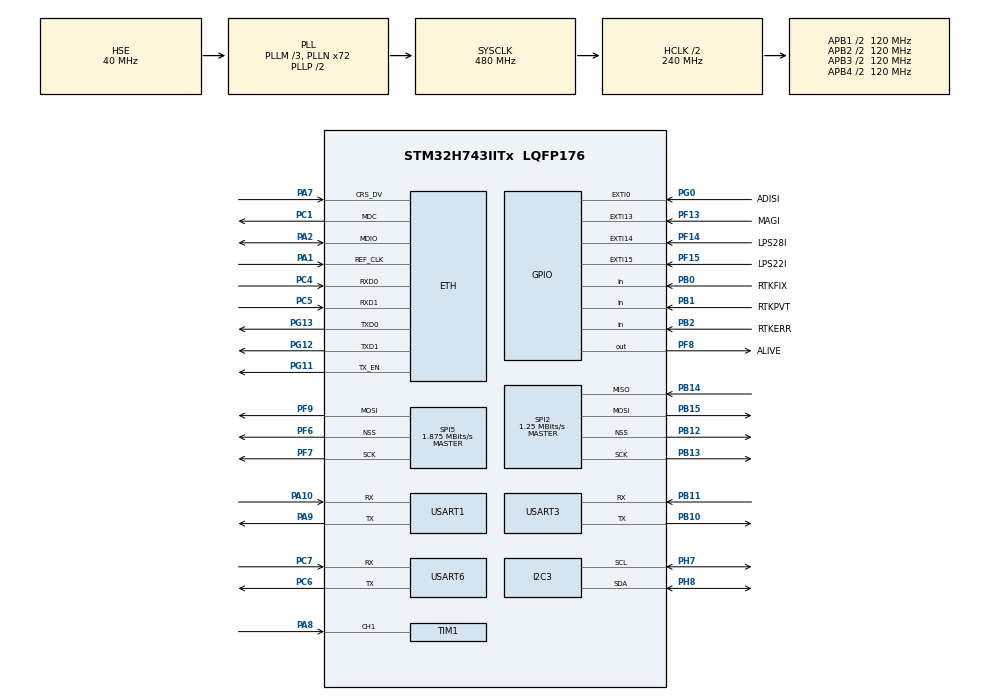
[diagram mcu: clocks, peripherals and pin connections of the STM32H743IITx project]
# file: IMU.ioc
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CORTEX_M7.AccessPermission_S-Cortex_Memory_Protection_Unit_Region1_Settings_S=MPU_REGION_FULL_ACCESS
CORTEX_M7.AccessPermission_S-Cortex_Memory_Protection_Unit_Region2_Settings_S=MPU_REGION_FULL_ACCESS
CORTEX_M7.AccessPermission_S-Cortex_Memory_Protection_Unit_Region3_Settings_S=MPU_REGION_FULL_ACCESS
CORTEX_M7.AccessPermission_S-Cortex_Memory_Protection_Unit_Region4_Settings_S=MPU_REGION_FULL_ACCESS
CORTEX_M7.BaseAddress_S-Cortex_Memory_Protection_Unit_Region1_Settings_S=0x30020000
CORTEX_M7.BaseAddress_S-Cortex_Memory_Protection_Unit_Region2_Settings_S=0x30040000
CORTEX_M7.BaseAddress_S-Cortex_Memory_Protection_Unit_Region3_Settings_S=0x30000000
CORTEX_M7.BaseAddress_S-Cortex_Memory_Protection_Unit_Region4_Settings_S=0x24000000
CORTEX_M7.CPU_DCache=Enabled
CORTEX_M7.CPU_ICache=Enabled
CORTEX_M7.DisableExec_S-Cortex_Memory_Protection_Unit_Region1_Settings_S=MPU_INSTRUCTION_ACCESS_DISABLE
CORTEX_M7.DisableExec_S-Cortex_Memory_Protection_Unit_Region2_Settings_S=MPU_INSTRUCTION_ACCESS_DISABLE
CORTEX_M7.DisableExec_S-Cortex_Memory_Protection_Unit_Region3_Settings_S=MPU_INSTRUCTION_ACCESS_DISABLE
CORTEX_M7.DisableExec_S-Cortex_Memory_Protection_Unit_Region4_Settings_S=MPU_INSTRUCTION_ACCESS_DISABLE
CORTEX_M7.Enable_S-Cortex_Memory_Protection_Unit_Region1_Settings_S=MPU_REGION_ENABLE
CORTEX_M7.Enable_S-Cortex_Memory_Protection_Unit_Region2_Settings_S=MPU_REGION_ENABLE
CORTEX_M7.Enable_S-Cortex_Memory_Protection_Unit_Region3_Settings_S=MPU_REGION_ENABLE
CORTEX_M7.Enable_S-Cortex_Memory_Protection_Unit_Region4_Settings_S=MPU_REGION_ENABLE
CORTEX_M7.IsBufferable_S-Cortex_Memory_Protection_Unit_Region1_Settings_S=MPU_ACCESS_NOT_BUFFERABLE
CORTEX_M7.IsBufferable_S-Cortex_Memory_Protection_Unit_Region2_Settings_S=MPU_ACCESS_BUFFERABLE
CORTEX_M7.IsBufferable_S-Cortex_Memory_Protection_Unit_Region4_Settings_S=MPU_ACCESS_BUFFERABLE
CORTEX_M7.IsBufferable_Spec=MPU_ACCESS_NOT_BUFFERABLE
CORTEX_M7.IsCacheable_S-Cortex_Memory_Protection_Unit_Region1_Settings_S=MPU_ACCESS_NOT_CACHEABLE
CORTEX_M7.IsCacheable_S-Cortex_Memory_Protection_Unit_Region2_Settings_S=MPU_ACCESS_NOT_CACHEABLE
CORTEX_M7.IsCacheable_S-Cortex_Memory_Protection_Unit_Region3_Settings_S=MPU_ACCESS_CACHEABLE
CORTEX_M7.IsCacheable_S-Cortex_Memory_Protection_Unit_Region4_Settings_S=MPU_ACCESS_CACHEABLE
CORTEX_M7.IsCacheable_Spec=MPU_ACCESS_NOT_CACHEABLE
CORTEX_M7.IsShareable_S-Cortex_Memory_Protection_Unit_Region1_Settings_S=MPU_ACCESS_NOT_SHAREABLE
CORTEX_M7.IsShareable_S-Cortex_Memory_Protection_Unit_Region2_Settings_S=MPU_ACCESS_SHAREABLE
CORTEX_M7.IsShareable_S-Cortex_Memory_Protection_Unit_Region3_Settings_S=MPU_ACCESS_SHAREABLE
CORTEX_M7.IsShareable_Spec=MPU_ACCESS_SHAREABLE
CORTEX_M7.Size_S-Cortex_Memory_Protection_Unit_Region1_Settings_S=MPU_REGION_SIZE_128KB
CORTEX_M7.Size_S-Cortex_Memory_Protection_Unit_Region2_Settings_S=MPU_REGION_SIZE_512B
CORTEX_M7.Size_S-Cortex_Memory_Protection_Unit_Region3_Settings_S=MPU_REGION_SIZE_64KB
CORTEX_M7.Size_S-Cortex_Memory_Protection_Unit_Region4_Settings_S=MPU_REGION_SIZE_64KB
CORTEX_M7.SubRegionDisable_S-Cortex_Memory_Protection_Unit_Region1_Settings_S=0x0
CORTEX_M7.SubRegionDisable_S-Cortex_Memory_Protection_Unit_Region3_Settings_S=0x0
CORTEX_M7.TypeExtField_S-Cortex_Memory_Protection_Unit_Region1_Settings_S=MPU_TEX_LEVEL1
CORTEX_M7.default_mode_Activation=1
Dma.I2C3_RX.1.Direction=DMA_PERIPH_TO_MEMORY
Dma.I2C3_RX.1.EventEnable=DISABLE
Dma.I2C3_RX.1.FIFOMode=DMA_FIFOMODE_DISABLE
Dma.I2C3_RX.1.Instance=DMA1_Stream4
Dma.I2C3_RX.1.MemDataAlignment=DMA_MDATAALIGN_BYTE
Dma.I2C3_RX.1.MemInc=DMA_MINC_ENABLE
Dma.I2C3_RX.1.Mode=DMA_NORMAL
Dma.I2C3_RX.1.PeriphDataAlignment=DMA_PDATAALIGN_BYTE
Dma.I2C3_RX.1.PeriphInc=DMA_PINC_DISABLE
Dma.I2C3_RX.1.Polarity=HAL_DMAMUX_REQ_GEN_RISING
Dma.I2C3_RX.1.Priority=DMA_PRIORITY_LOW
Dma.I2C3_RX.1.RequestNumber=1
Dma.I2C3_RX.1.SignalID=NONE
Dma.I2C3_RX.1.SyncEnable=DISABLE
Dma.I2C3_RX.1.SyncPolarity=HAL_DMAMUX_SYNC_NO_EVENT
Dma.I2C3_RX.1.SyncRequestNumber=1
Dma.I2C3_RX.1.SyncSignalID=NONE
Dma.I2C3_TX.2.Direction=DMA_MEMORY_TO_PERIPH
Dma.I2C3_TX.2.EventEnable=DISABLE
Dma.I2C3_TX.2.FIFOMode=DMA_FIFOMODE_DISABLE
Dma.I2C3_TX.2.Instance=DMA1_Stream7
Dma.I2C3_TX.2.MemDataAlignment=DMA_MDATAALIGN_BYTE
Dma.I2C3_TX.2.MemInc=DMA_MINC_ENABLE
Dma.I2C3_TX.2.Mode=DMA_NORMAL
Dma.I2C3_TX.2.PeriphDataAlignment=DMA_PDATAALIGN_BYTE
Dma.I2C3_TX.2.PeriphInc=DMA_PINC_DISABLE
Dma.I2C3_TX.2.Polarity=HAL_DMAMUX_REQ_GEN_RISING
Dma.I2C3_TX.2.Priority=DMA_PRIORITY_LOW
Dma.I2C3_TX.2.RequestNumber=1
Dma.I2C3_TX.2.SignalID=NONE
Dma.I2C3_TX.2.SyncEnable=DISABLE
Dma.I2C3_TX.2.SyncPolarity=HAL_DMAMUX_SYNC_NO_EVENT
Dma.I2C3_TX.2.SyncRequestNumber=1
Dma.I2C3_TX.2.SyncSignalID=NONE
Dma.Request0=USART3_RX
Dma.Request1=I2C3_RX
Dma.Request2=I2C3_TX
Dma.Request3=SPI2_RX
Dma.Request4=SPI2_TX
Dma.Request5=USART3_TX
Dma.Request6=USART6_RX
Dma.Request7=USART6_TX
Dma.Request8=SPI5_TX
Dma.SPI2_RX.3.Direction=DMA_PERIPH_TO_MEMORY
Dma.SPI2_RX.3.EventEnable=DISABLE
Dma.SPI2_RX.3.FIFOMode=DMA_FIFOMODE_DISABLE
Dma.SPI2_RX.3.Instance=DMA1_Stream0
Dma.SPI2_RX.3.MemDataAlignment=DMA_MDATAALIGN_HALFWORD
Dma.SPI2_RX.3.MemInc=DMA_MINC_ENABLE
Dma.SPI2_RX.3.Mode=DMA_NORMAL
Dma.SPI2_RX.3.PeriphDataAlignment=DMA_PDATAALIGN_HALFWORD
Dma.SPI2_RX.3.PeriphInc=DMA_PINC_DISABLE
Dma.SPI2_RX.3.Polarity=HAL_DMAMUX_REQ_GEN_RISING
Dma.SPI2_RX.3.Priority=DMA_PRIORITY_LOW
Dma.SPI2_RX.3.RequestNumber=1
Dma.SPI2_RX.3.SignalID=NONE
Dma.SPI2_RX.3.SyncEnable=DISABLE
Dma.SPI2_RX.3.SyncPolarity=HAL_DMAMUX_SYNC_NO_EVENT
Dma.SPI2_RX.3.SyncRequestNumber=1
Dma.SPI2_RX.3.SyncSignalID=NONE
Dma.SPI2_TX.4.Direction=DMA_MEMORY_TO_PERIPH
Dma.SPI2_TX.4.EventEnable=DISABLE
Dma.SPI2_TX.4.FIFOMode=DMA_FIFOMODE_DISABLE
Dma.SPI2_TX.4.Instance=DMA1_Stream1
Dma.SPI2_TX.4.MemDataAlignment=DMA_MDATAALIGN_HALFWORD
Dma.SPI2_TX.4.MemInc=DMA_MINC_ENABLE
Dma.SPI2_TX.4.Mode=DMA_NORMAL
Dma.SPI2_TX.4.PeriphDataAlignment=DMA_PDATAALIGN_HALFWORD
Dma.SPI2_TX.4.PeriphInc=DMA_PINC_DISABLE
Dma.SPI2_TX.4.Polarity=HAL_DMAMUX_REQ_GEN_RISING
Dma.SPI2_TX.4.Priority=DMA_PRIORITY_LOW
Dma.SPI2_TX.4.RequestNumber=1
Dma.SPI2_TX.4.SignalID=NONE
Dma.SPI2_TX.4.SyncEnable=DISABLE
Dma.SPI2_TX.4.SyncPolarity=HAL_DMAMUX_SYNC_NO_EVENT
Dma.SPI2_TX.4.SyncRequestNumber=1
Dma.SPI2_TX.4.SyncSignalID=NONE
Dma.SPI5_TX.8.Direction=DMA_MEMORY_TO_PERIPH
Dma.SPI5_TX.8.EventEnable=DISABLE
Dma.SPI5_TX.8.FIFOMode=DMA_FIFOMODE_DISABLE
Dma.SPI5_TX.8.Instance=DMA1_Stream5
Dma.SPI5_TX.8.MemDataAlignment=DMA_MDATAALIGN_HALFWORD
Dma.SPI5_TX.8.MemInc=DMA_MINC_ENABLE
Dma.SPI5_TX.8.Mode=DMA_NORMAL
Dma.SPI5_TX.8.PeriphDataAlignment=DMA_PDATAALIGN_HALFWORD
Dma.SPI5_TX.8.PeriphInc=DMA_PINC_DISABLE
Dma.SPI5_TX.8.Polarity=HAL_DMAMUX_REQ_GEN_RISING
Dma.SPI5_TX.8.Priority=DMA_PRIORITY_LOW
Dma.SPI5_TX.8.RequestNumber=1
Dma.SPI5_TX.8.SignalID=NONE
Dma.SPI5_TX.8.SyncEnable=DISABLE
Dma.SPI5_TX.8.SyncPolarity=HAL_DMAMUX_SYNC_NO_EVENT
Dma.SPI5_TX.8.SyncRequestNumber=1
Dma.SPI5_TX.8.SyncSignalID=NONE
Dma.USART3_RX.0.Direction=DMA_PERIPH_TO_MEMORY
Dma.USART3_RX.0.EventEnable=DISABLE
Dma.USART3_RX.0.FIFOMode=DMA_FIFOMODE_DISABLE
Dma.USART3_RX.0.Instance=DMA1_Stream6
Dma.USART3_RX.0.MemDataAlignment=DMA_MDATAALIGN_BYTE
Dma.USART3_RX.0.MemInc=DMA_MINC_ENABLE
Dma.USART3_RX.0.Mode=DMA_NORMAL
Dma.USART3_RX.0.PeriphDataAlignment=DMA_PDATAALIGN_BYTE
Dma.USART3_RX.0.PeriphInc=DMA_PINC_DISABLE
Dma.USART3_RX.0.Polarity=HAL_DMAMUX_REQ_GEN_RISING
Dma.USART3_RX.0.Priority=DMA_PRIORITY_LOW
Dma.USART3_RX.0.RequestNumber=1
Dma.USART3_RX.0.SignalID=NONE
Dma.USART3_RX.0.SyncEnable=DISABLE
Dma.USART3_RX.0.SyncPolarity=HAL_DMAMUX_SYNC_NO_EVENT
Dma.USART3_RX.0.SyncRequestNumber=1
Dma.USART3_RX.0.SyncSignalID=NONE
Dma.USART3_TX.5.Direction=DMA_MEMORY_TO_PERIPH
Dma.USART3_TX.5.EventEnable=DISABLE
Dma.USART3_TX.5.FIFOMode=DMA_FIFOMODE_DISABLE
Dma.USART3_TX.5.Instance=DMA2_Stream0
Dma.USART3_TX.5.MemDataAlignment=DMA_MDATAALIGN_BYTE
Dma.USART3_TX.5.MemInc=DMA_MINC_ENABLE
Dma.USART3_TX.5.Mode=DMA_NORMAL
Dma.USART3_TX.5.PeriphDataAlignment=DMA_PDATAALIGN_BYTE
Dma.USART3_TX.5.PeriphInc=DMA_PINC_DISABLE
Dma.USART3_TX.5.Polarity=HAL_DMAMUX_REQ_GEN_RISING
Dma.USART3_TX.5.Priority=DMA_PRIORITY_LOW
Dma.USART3_TX.5.RequestNumber=1
Dma.USART3_TX.5.SignalID=NONE
Dma.USART3_TX.5.SyncEnable=DISABLE
Dma.USART3_TX.5.SyncPolarity=HAL_DMAMUX_SYNC_NO_EVENT
Dma.USART3_TX.5.SyncRequestNumber=1
Dma.USART3_TX.5.SyncSignalID=NONE
Dma.USART6_RX.6.Direction=DMA_PERIPH_TO_MEMORY
Dma.USART6_RX.6.EventEnable=DISABLE
Dma.USART6_RX.6.FIFOMode=DMA_FIFOMODE_DISABLE
Dma.USART6_RX.6.Instance=DMA2_Stream2
Dma.USART6_RX.6.MemDataAlignment=DMA_MDATAALIGN_BYTE
Dma.USART6_RX.6.MemInc=DMA_MINC_ENABLE
Dma.USART6_RX.6.Mode=DMA_NORMAL
Dma.USART6_RX.6.PeriphDataAlignment=DMA_PDATAALIGN_BYTE
Dma.USART6_RX.6.PeriphInc=DMA_PINC_DISABLE
Dma.USART6_RX.6.Polarity=HAL_DMAMUX_REQ_GEN_RISING
Dma.USART6_RX.6.Priority=DMA_PRIORITY_LOW
Dma.USART6_RX.6.RequestNumber=1
Dma.USART6_RX.6.SignalID=NONE
Dma.USART6_RX.6.SyncEnable=DISABLE
Dma.USART6_RX.6.SyncPolarity=HAL_DMAMUX_SYNC_NO_EVENT
Dma.USART6_RX.6.SyncRequestNumber=1
Dma.USART6_RX.6.SyncSignalID=NONE
Dma.USART6_TX.7.Direction=DMA_MEMORY_TO_PERIPH
Dma.USART6_TX.7.EventEnable=DISABLE
Dma.USART6_TX.7.FIFOMode=DMA_FIFOMODE_DISABLE
Dma.USART6_TX.7.Instance=DMA2_Stream3
Dma.USART6_TX.7.MemDataAlignment=DMA_MDATAALIGN_BYTE
Dma.USART6_TX.7.MemInc=DMA_MINC_ENABLE
Dma.USART6_TX.7.Mode=DMA_NORMAL
Dma.USART6_TX.7.PeriphDataAlignment=DMA_PDATAALIGN_BYTE
Dma.USART6_TX.7.PeriphInc=DMA_PINC_DISABLE
Dma.USART6_TX.7.Polarity=HAL_DMAMUX_REQ_GEN_RISING
Dma.USART6_TX.7.Priority=DMA_PRIORITY_LOW
Dma.USART6_TX.7.RequestNumber=1
Dma.USART6_TX.7.SignalID=NONE
Dma.USART6_TX.7.SyncEnable=DISABLE
Dma.USART6_TX.7.SyncPolarity=HAL_DMAMUX_SYNC_NO_EVENT
Dma.USART6_TX.7.SyncRequestNumber=1
Dma.USART6_TX.7.SyncSignalID=NONE
ETH.MediaInterface=HAL_ETH_RMII_MODE
ETH.RxBufferAddress=0x30040200
ETH.RxDescAddress=0x30040000
ETH.TxDescAddress=0x30040100
I2C3.Timing=0x307075B1
IWDG1.Prescaler=IWDG_PRESCALER_32
LPTIM1.ClockPrescaler=LPTIM_PRESCALER_DIV128
LPTIM1.UpdateMode=LPTIM_UPDATE_ENDOFPERIOD
LWIP.BSP.number=1
LWIP.IP_ADDRESS=010.000.000.011
LWIP.LWIP_DHCP=0
LWIP.LWIP_NETIF_EXT_STATUS_CALLBACK=1
LWIP.LWIP_NETIF_STATUS_CALLBACK=1
LWIP.LWIP_RAM_HEAP_POINTER=0x30020000
LWIP.LWIP_UDP=0
LWIP.MEMP_NUM_PBUF=16
LWIP.MEMP_NUM_RAW_PCB=8
LWIP.MEMP_NUM_TCP_PCB=8
LWIP.MEMP_NUM_TCP_SEG=1024
LWIP.MEM_SIZE=40960
LWIP.NETMASK_ADDRESS=255.255.255.000
LWIP.PBUF_POOL_BUFSIZE=256
LWIP.PBUF_POOL_SIZE=64
LWIP.TCP_MSS=128
LWIP.TCP_QUEUE_OOSEQ=0
LWIP.TCP_SND_BUF=8192
LWIP.TCP_SND_QUEUELEN=1024
LWIP.TCP_WND=5840
LWIP.Version=v2.1.2_Cube
LWIP0.BSP.STBoard=false
LWIP0.BSP.api=BSP_COMPONENT_DRIVER
LWIP0.BSP.component=LAN8742
LWIP0.BSP.instance=LAN8742
LWIP0.BSP.name=Driver_PHY
LWIP0.BSP.semaphore=S_LAN8742
LWIP0.BSP.solution=LAN8742
Mcu.Family=STM32H7
Mcu.Name=STM32H743IITx
Mcu.Package=LQFP176
NVIC.DMA1_Stream0_IRQn=true\:1\:0\:true\:false\:true\:false\:true\:true
NVIC.DMA1_Stream1_IRQn=true\:1\:0\:true\:false\:true\:false\:true\:true
NVIC.DMA1_Stream4_IRQn=true\:1\:0\:true\:false\:true\:false\:true\:true
NVIC.DMA1_Stream5_IRQn=true\:1\:0\:true\:false\:true\:false\:true\:true
NVIC.DMA1_Stream6_IRQn=true\:1\:0\:true\:false\:true\:false\:true\:true
NVIC.DMA1_Stream7_IRQn=true\:1\:0\:true\:false\:true\:false\:true\:true
NVIC.DMA2_Stream0_IRQn=true\:1\:0\:true\:false\:true\:false\:true\:true
NVIC.DMA2_Stream2_IRQn=true\:1\:0\:true\:false\:true\:false\:true\:true
NVIC.DMA2_Stream3_IRQn=true\:1\:0\:true\:false\:true\:false\:true\:true
NVIC.EXTI0_IRQn=true\:1\:0\:true\:false\:true\:true\:true\:true
NVIC.EXTI15_10_IRQn=true\:1\:0\:true\:false\:true\:true\:true\:true
NVIC.I2C3_ER_IRQn=true\:0\:0\:true\:false\:true\:true\:true\:true
NVIC.I2C3_EV_IRQn=true\:1\:0\:true\:false\:true\:true\:true\:true
NVIC.LPTIM1_IRQn=true\:1\:0\:true\:false\:true\:true\:true\:true
NVIC.PriorityGroup=NVIC_PRIORITYGROUP_3
NVIC.SPI2_IRQn=true\:1\:0\:true\:false\:true\:false\:true\:true
NVIC.SPI5_IRQn=true\:1\:0\:true\:false\:true\:true\:true\:true
NVIC.TIM1_BRK_IRQn=true\:2\:0\:true\:false\:true\:true\:true\:true
NVIC.TIM1_CC_IRQn=true\:1\:0\:true\:false\:true\:true\:true\:true
NVIC.TIM1_TRG_COM_IRQn=true\:2\:0\:true\:false\:true\:true\:true\:true
NVIC.TIM1_UP_IRQn=true\:2\:0\:true\:false\:true\:true\:true\:true
NVIC.TIM2_IRQn=true\:0\:0\:true\:false\:true\:true\:true\:true
NVIC.USART1_IRQn=true\:1\:0\:true\:false\:true\:true\:true\:true
NVIC.USART3_IRQn=true\:1\:0\:true\:false\:true\:true\:true\:true
NVIC.USART6_IRQn=true\:1\:0\:true\:false\:true\:true\:true\:true
PA1.GPIO_Speed=GPIO_SPEED_FREQ_VERY_HIGH
PA1.Mode=RMII
PA1.Signal=ETH_REF_CLK
PA10.Mode=Asynchronous
PA10.Signal=USART1_RX
PA13\ (JTMS/SWDIO).Mode=Serial_Wire
PA13\ (JTMS/SWDIO).Signal=DEBUG_JTMS-SWDIO
PA14\ (JTCK/SWCLK).Mode=Serial_Wire
PA14\ (JTCK/SWCLK).Signal=DEBUG_JTCK-SWCLK
PA2.GPIO_PuPd=GPIO_NOPULL
PA2.GPIO_Speed=GPIO_SPEED_FREQ_VERY_HIGH
PA2.Mode=RMII
PA2.Signal=ETH_MDIO
PA7.GPIO_Speed=GPIO_SPEED_FREQ_VERY_HIGH
PA7.Mode=RMII
PA7.Signal=ETH_CRS_DV
PA8.Signal=S_TIM1_CH1
PA9.Mode=Asynchronous
PA9.Signal=USART1_TX
PB0.GPIO_Label=RTKFIX
PB0.Signal=GPIO_Input
PB1.GPIO_Label=RTKPVT
PB1.Signal=GPIO_Input
PB10.Mode=Asynchronous
PB10.Signal=USART3_TX
PB11.Mode=Asynchronous
PB11.Signal=USART3_RX
PB12.Mode=NSS_Signal_Hard_Output
PB12.Signal=SPI2_NSS
PB13.Mode=Full_Duplex_Master
PB13.Signal=SPI2_SCK
PB14.Mode=Full_Duplex_Master
PB14.Signal=SPI2_MISO
PB15.Mode=Full_Duplex_Master
PB15.Signal=SPI2_MOSI
PB2.GPIO_Label=RTKERR
PB2.Signal=GPIO_Input
PC1.GPIO_Speed=GPIO_SPEED_FREQ_VERY_HIGH
PC1.Mode=RMII
PC1.Signal=ETH_MDC
PC4.GPIO_Speed=GPIO_SPEED_FREQ_VERY_HIGH
PC4.Mode=RMII
PC4.Signal=ETH_RXD0
PC5.GPIO_Speed=GPIO_SPEED_FREQ_VERY_HIGH
PC5.Mode=RMII
PC5.Signal=ETH_RXD1
PC6.Mode=Asynchronous
PC6.Signal=USART6_TX
PC7.Mode=Asynchronous
PC7.Signal=USART6_RX
PF13.GPIO_Label=MAGI
PF13.Signal=GPXTI13
PF14.GPIO_Label=LPS28I
PF14.Signal=GPXTI14
PF15.GPIO_Label=LPS22I
PF15.Signal=GPXTI15
PF6.Mode=NSS_Signal_Hard_Output
PF6.Signal=SPI5_NSS
PF7.Mode=TX_Only_Simplex_Unidirect_Master
PF7.Signal=SPI5_SCK
PF8.GPIO_Label=ALIVE
PF8.Signal=GPIO_Output
PF9.Mode=TX_Only_Simplex_Unidirect_Master
PF9.Signal=SPI5_MOSI
PG0.GPIO_Label=ADISI
PG0.Signal=GPXTI0
PG11.GPIO_PuPd=GPIO_NOPULL
PG11.GPIO_Speed=GPIO_SPEED_FREQ_VERY_HIGH
PG11.Mode=RMII
PG11.Signal=ETH_TX_EN
PG12.GPIO_PuPd=GPIO_NOPULL
PG12.GPIO_Speed=GPIO_SPEED_FREQ_VERY_HIGH
PG12.Mode=RMII
PG12.Signal=ETH_TXD1
PG13.GPIO_Speed=GPIO_SPEED_FREQ_VERY_HIGH
PG13.Mode=RMII
PG13.Signal=ETH_TXD0
PH0-OSC_IN\ (PH0).Mode=HSE-External-Clock-Source
PH0-OSC_IN\ (PH0).Signal=RCC_OSC_IN
PH7.Mode=I2C
PH7.Signal=I2C3_SCL
PH8.Mode=I2C
PH8.Signal=I2C3_SDA
ProjectManager.HeapSize=0x200
ProjectManager.StackSize=0x400
ProjectManager.TargetToolchain=STM32CubeIDE
RCC.ADCFreq_Value=2500000
RCC.APB1Freq_Value=120000000
RCC.APB2Freq_Value=120000000
RCC.APB3Freq_Value=120000000
RCC.APB4Freq_Value=120000000
RCC.CortexFreq_Value=480000000
RCC.D1PPRE=RCC_APB3_DIV2
RCC.D2PPRE1=RCC_APB1_DIV2
RCC.D2PPRE2=RCC_APB2_DIV2
RCC.D3PPRE=RCC_APB4_DIV2
RCC.DIVM1=3
RCC.DIVM2=3
RCC.DIVN1=72
RCC.DIVN2=15
RCC.DIVP2=80
RCC.DIVQ1=60
RCC.EnbaleCSS=true
RCC.HCLKFreq_Value=240000000
RCC.HPRE=RCC_HCLK_DIV2
RCC.HSE_VALUE=40000000
RCC.PLL2FRACN=0
RCC.PLL3FRACN=0
RCC.PLLFRACN=0
RCC.PLLSourceVirtual=RCC_PLLSOURCE_HSE
RCC.SPI123CLockSelection=RCC_SPI123CLKSOURCE_PLL2
RCC.SYSCLKFreq_VALUE=480000000
RCC.SYSCLKSource=RCC_SYSCLKSOURCE_PLLCLK
RCC.USBFreq_Value=16000000
RTC.AsynchPrediv=8-1
RTC.SynchPrediv=4096-1
RTC.WakeUpCounter-WakeUp=64-1
SH.S_TIM1_CH1.0=TIM1_CH1,Input_Capture1_from_TI1
SPI2.CLKPhase=SPI_PHASE_2EDGE
SPI2.CLKPolarity=SPI_POLARITY_HIGH
SPI2.CalculateBaudRate=1.25 MBits/s
SPI2.DataSize=SPI_DATASIZE_16BIT
SPI2.Direction=SPI_DIRECTION_2LINES
SPI2.MasterInterDataIdleness=SPI_MASTER_INTERDATA_IDLENESS_15CYCLE
SPI2.Mode=SPI_MODE_MASTER
SPI2.VirtualNSS=VM_NSSHARD
SPI2.VirtualType=VM_MASTER
SPI5.BaudRatePrescaler=SPI_BAUDRATEPRESCALER_64
SPI5.CalculateBaudRate=1.875 MBits/s
SPI5.DataSize=SPI_DATASIZE_16BIT
SPI5.Direction=SPI_DIRECTION_2LINES_TXONLY
SPI5.Mode=SPI_MODE_MASTER
SPI5.VirtualNSS=VM_NSSHARD
SPI5.VirtualType=VM_MASTER
TIM1.Channel-Input_Capture1_from_TI1=TIM_CHANNEL_1
TIM1.Period=10-1
TIM1.Prescaler=24-1
TIM2.Period=1000000-1
TIM2.Prescaler=240-1
USART1.VirtualMode-Asynchronous=VM_ASYNC
USART3.VirtualMode-Asynchronous=VM_ASYNC
USART6.VirtualMode-Asynchronous=VM_ASYNC
VP_IWDG1_VS_IWDG.Mode=IWDG_Activate
VP_LPTIM1_VS_LPTIM_counterModeInternalClock.Mode=Counts__internal_clock_event_00
VP_LWIP_VS_Enabled.Mode=Enabled
VP_MEMORYMAP_VS_MEMORYMAP.Mode=CurAppReg
VP_RTC_VS_RTC_Activate.Mode=RTC_Enabled
VP_RTC_VS_RTC_Calendar.Mode=RTC_Calendar
VP_RTC_VS_RTC_WakeUp_intern.Mode=WakeUp
VP_TIM1_VS_ClockSourceINT.Mode=Internal
VP_TIM2_VS_ClockSourceINT.Mode=Internal
board=custom

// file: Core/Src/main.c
/* USER CODE BEGIN Header */
/**
  ******************************************************************************
  * @file           : main.c
  * @brief          : Main program body
  ******************************************************************************
  * @attention
  *
  * Copyright (c) 2024 STMicroelectronics.
  * All rights reserved.
  *
  * This software is licensed under terms that can be found in the LICENSE file
  * in the root directory of this software component.
  * If no LICENSE file comes with this software, it is provided AS-IS.
  *
  ******************************************************************************
  */
/* USER CODE END Header */
#include "main.h"
#include "dma.h"
#include "i2c.h"
#include "iwdg.h"
#include "lptim.h"
#include "lwip.h"
#include "memorymap.h"
#include "rtc.h"
#include "spi.h"
#include "tim.h"
#include "usart.h"
#include "gpio.h"

/* USER CODE BEGIN Includes */
#include "mem_helper.h"
#include "rtk.h"
#include "adis.h"
#include "mag.h"
#include "lps28.h"
#include "lps22.h"
#include "imu_msg.h"
#include "rtcm_msg.h"
#include "tcp_server.h"
#include "i2c_queue.h"
//#include "usbd_cdc_if.h"
/* USER CODE END Includes */

/* USER CODE BEGIN PV */
uint8_t i2c_status = I2C_READY;
volatile uint8_t rtcm_uart_status = RTCM_READY;
uint32_t sys_init_flag = 0;
uint32_t adis_base_tick;
uint32_t mag_base_tick;
uint32_t lps28_base_tick;
uint32_t lps22_base_tick;
uint32_t filtered_ticks_interval[MNT_ENUM_NUM] = {0};
uint64_t last_ticks[MNT_ENUM_NUM] = {0};
uint32_t sys_error = 0;
ETH_ADDR_CONFIG eth_addr_config;
RTKConfig rtk_config;
IMUFreqConfig imu_freq_config;
uint8_t flash_data_available = 0;
volatile uint32_t sys_second = 0;
OnChipTime global_i2c_timestamp_next;
OnChipTime global_adis_timestamp_next;

char dbg_msg_buff[256];
uint32_t dbg_msg_len;
/* USER CODE END PV */

void SystemClock_Config(void);
static void MPU_Config(void);

int main(void)
{

  /* USER CODE BEGIN 1 */
  load_memory();
  /* USER CODE END 1 */

  /* MPU Configuration--------------------------------------------------------*/
  MPU_Config();

  /* Enable the CPU Cache */

  /* Enable I-Cache---------------------------------------------------------*/
  SCB_EnableICache();

  /* Enable D-Cache---------------------------------------------------------*/
  SCB_EnableDCache();

  /* MCU Configuration--------------------------------------------------------*/

  /* Reset of all peripherals, Initializes the Flash interface and the Systick. */
  HAL_Init();

  /* Configure the system clock */
  SystemClock_Config();

  /* USER CODE BEGIN SysInit */
  find_flash_config();

  if (flash_data_available) {
    load_config_from_flash();
    load_eth_addr_from_flash();
  } else {
    rtk_config = (RTKConfig) {.rtk_type = RTK_MOB, .MOBConfig.heading_length=43, .MOBConfig.pps_type=1, .MOBConfig.heading_error=4, .MOBConfig.nmea_bitmap=0xFF, .MOBConfig.nmea_freq=10};
    imu_freq_config = (IMUFreqConfig) {.adis_sync_mode = 0, .mag_freq = 80, .lps28_freq = 10, .lps22_freq = 10};
    const uint8_t default_ip_addr[] = {192, 168, 11, 11};
    const uint8_t default_ip_mask[] = {255, 255, 255, 0};
    const uint8_t default_ip_gate[] = {192, 168, 11, 1};
    // OUI of STMicroelectronics: 00:80:E1; Default code for IMU board: 0A
    const uint8_t mac_prefix[] = {0x00, 0x80, 0xE1, 0x0A};

    memcpy(&eth_addr_config.ip_addr, default_ip_addr, 4);
    memcpy(&eth_addr_config.ip_mask, default_ip_mask, 4);
    memcpy(&eth_addr_config.ip_gate, default_ip_gate, 4);
    memcpy(&eth_addr_config.mac_prefix, mac_prefix, 4);
  }

  adis_base_tick = TICKS_PER_SEC / 2000;
  mag_base_tick = TICKS_PER_SEC / imu_freq_config.mag_freq;
  lps28_base_tick = TICKS_PER_SEC / imu_freq_config.lps28_freq;
  lps22_base_tick = TICKS_PER_SEC / imu_freq_config.lps22_freq;
  filtered_ticks_interval[T1C1] = TICKS_PER_SEC;
  filtered_ticks_interval[ADIS] = adis_base_tick;
  filtered_ticks_interval[MAG] = mag_base_tick;
  filtered_ticks_interval[LPS28] = lps28_base_tick;
  filtered_ticks_interval[LPS22] = lps22_base_tick;

  __HAL_RCC_D2SRAM1_CLK_ENABLE();
  __HAL_RCC_D2SRAM2_CLK_ENABLE();
  __HAL_RCC_D2SRAM3_CLK_ENABLE();
  __attribute__((aligned(32))) char msg_buffer[256];
  const uint32_t APB1_CLKFreq = HAL_RCC_GetPCLK1Freq();
  uint32_t tcp_msg_type;
  /* USER CODE END SysInit */

  /* Initialize all configured peripherals */
  MX_GPIO_Init();
  MX_DMA_Init();
  MX_LWIP_Init();
  MX_TIM1_Init();
  MX_USART1_UART_Init();
  MX_USART3_UART_Init();
  MX_SPI5_Init();
  MX_I2C3_Init();
  MX_SPI2_Init();
  MX_USART6_UART_Init();
  MX_LPTIM1_Init();
  MX_RTC_Init();
  MX_TIM2_Init();
  /* USER CODE BEGIN 2 */
  check_error();
  dbg_msg_len = sprintf(dbg_msg_buff, "[MAIN] Last sys errno 0x%lX\r\n", sys_error);
  dbg_msg_transmit(dbg_msg_buff, dbg_msg_len);

  ADIS_Init();
  MAG_Init();
  LPS28_Init();
  LPS22_Init();
  RTK_Init();
  TCP_Server_Init();
  /* USER CODE END 2 */

  /* Infinite loop */
  /* USER CODE BEGIN WHILE */
  __HAL_UART_CLEAR_OREFLAG(RTK_NMEA_HDL);
  __HAL_UART_CLEAR_OREFLAG(RTK_RTCM_HDL);
#ifdef ENABLE_WDG
  MX_IWDG1_Init();
#endif
  dbg_msg_len = sprintf(dbg_msg_buff, "[MAIN] Device Init OK, ip: %08lX\r\n", eth_addr_config.ip_addr);
  dbg_msg_transmit(dbg_msg_buff, dbg_msg_len);

  HAL_TIM_Base_Start_IT(&htim2);
  HAL_TIM_Base_Start_IT(&htim1);
  HAL_TIM_IC_Start_IT(&htim1, TIM_CHANNEL_1);
  HAL_LPTIM_Counter_Start_IT(&hlptim1, APB1_CLKFreq / 128 - 1);
  sys_init_flag = 1;

  record_mag_task(get_on_chip_time());
  record_lps28_task(get_on_chip_time());
  record_lps22_task(get_on_chip_time());

  RTK_NMEA_DMA();
  if (rtk_config.rtk_type == RTK_BS)
    RTK_RTCM_RX_DMA();

#pragma ide diagnostic ignored "EndlessLoop"
  while (1) {
    static uint32_t pre_imu_msg_tcp_idx = 0;
    static uint32_t pre_rtcm_msg_tcp_idx = 0;
    static uint32_t pre_i2c_task_idx = 0;

    if (pre_imu_msg_tcp_idx != next_imu_msg_idx) {
      uint32_t data_msg_len = get_imu_msg(msg_buffer, &imu_msg_buffer[pre_imu_msg_tcp_idx], &tcp_msg_type);
      if (tcp_transmit(msg_buffer, tcp_msg_type, data_msg_len) == HAL_OK)
        pre_imu_msg_tcp_idx = (pre_imu_msg_tcp_idx + 1) % IMU_MSG_BUF_SIZE;
    }

    if (i2c_status == I2C_READY && pre_i2c_task_idx != next_i2c_task_idx) {
      I2CTask task = i2c_task_buffer[pre_i2c_task_idx];
      global_i2c_timestamp_next = task.timestamp;
      switch (task.task) {
        case MAG_OCC:
          MAG_Read_DMA();
          break;
        case LPS28_OCC:
          LPS28_Read_DMA();
          break;
        case LPS22_OCC:
          LPS22_Read_DMA();
          break;
        default:
          break;
      }
      pre_i2c_task_idx = (pre_i2c_task_idx + 1) % I2C_TASK_BUF_SIZE;
    }

    if (rtk_config.rtk_type == RTK_BS || (rtk_config.rtk_type == RTK_MOB && rtcm_uart_status == RTCM_READY)) {
      __attribute__((aligned(32))) static uint8_t rtcm_msg_buf[1024];
      if (pre_rtcm_msg_tcp_idx != next_rtcm_msg_idx) {
        uint32_t rtcm_len = get_rtcm_msg(rtcm_msg_buf, &rtcm_msg_buffer[pre_rtcm_msg_tcp_idx], &tcp_msg_type);
        if (rtcm_transmit(rtcm_msg_buf, tcp_msg_type, rtcm_len) == HAL_OK)
          pre_rtcm_msg_tcp_idx = (pre_rtcm_msg_tcp_idx + 1) % RTCM_MSG_BUF_SIZE;
      }
    }

    MX_LWIP_Process();

    msg_wdg = SOFTWARE_WDG_RATE;
    HAL_GPIO_TogglePin(ALIVE_GPIO_Port, ALIVE_Pin);
    /* USER CODE END WHILE */

  }
}

void SystemClock_Config(void)
{
  RCC_OscInitTypeDef RCC_OscInitStruct = {0};
  RCC_ClkInitTypeDef RCC_ClkInitStruct = {0};

  /** Supply configuration update enable
  */
  HAL_PWREx_ConfigSupply(PWR_LDO_SUPPLY);

  /** Configure the main internal regulator output voltage
  */
  __HAL_PWR_VOLTAGESCALING_CONFIG(PWR_REGULATOR_VOLTAGE_SCALE1);

  while(!__HAL_PWR_GET_FLAG(PWR_FLAG_VOSRDY)) {}

  __HAL_RCC_SYSCFG_CLK_ENABLE();
  __HAL_PWR_VOLTAGESCALING_CONFIG(PWR_REGULATOR_VOLTAGE_SCALE0);

  while(!__HAL_PWR_GET_FLAG(PWR_FLAG_VOSRDY)) {}

  /** Initializes the RCC Oscillators according to the specified parameters
  * in the RCC_OscInitTypeDef structure.
  */
  RCC_OscInitStruct.OscillatorType = RCC_OSCILLATORTYPE_LSI|RCC_OSCILLATORTYPE_HSE;
  RCC_OscInitStruct.HSEState = RCC_HSE_BYPASS;
  RCC_OscInitStruct.LSIState = RCC_LSI_ON;
  RCC_OscInitStruct.PLL.PLLState = RCC_PLL_ON;
  RCC_OscInitStruct.PLL.PLLSource = RCC_PLLSOURCE_HSE;
  RCC_OscInitStruct.PLL.PLLM = 3;
  RCC_OscInitStruct.PLL.PLLN = 72;
  RCC_OscInitStruct.PLL.PLLP = 2;
  RCC_OscInitStruct.PLL.PLLQ = 60;
  RCC_OscInitStruct.PLL.PLLR = 2;
  RCC_OscInitStruct.PLL.PLLRGE = RCC_PLL1VCIRANGE_3;
  RCC_OscInitStruct.PLL.PLLVCOSEL = RCC_PLL1VCOWIDE;
  RCC_OscInitStruct.PLL.PLLFRACN = 0;
  if (HAL_RCC_OscConfig(&RCC_OscInitStruct) != HAL_OK)
  {
    Error_Handler();
  }

  /** Initializes the CPU, AHB and APB buses clocks
  */
  RCC_ClkInitStruct.ClockType = RCC_CLOCKTYPE_HCLK|RCC_CLOCKTYPE_SYSCLK
                              |RCC_CLOCKTYPE_PCLK1|RCC_CLOCKTYPE_PCLK2
                              |RCC_CLOCKTYPE_D3PCLK1|RCC_CLOCKTYPE_D1PCLK1;
  RCC_ClkInitStruct.SYSCLKSource = RCC_SYSCLKSOURCE_PLLCLK;
  RCC_ClkInitStruct.SYSCLKDivider = RCC_SYSCLK_DIV1;
  RCC_ClkInitStruct.AHBCLKDivider = RCC_HCLK_DIV2;
  RCC_ClkInitStruct.APB3CLKDivider = RCC_APB3_DIV2;
  RCC_ClkInitStruct.APB1CLKDivider = RCC_APB1_DIV2;
  RCC_ClkInitStruct.APB2CLKDivider = RCC_APB2_DIV2;
  RCC_ClkInitStruct.APB4CLKDivider = RCC_APB4_DIV2;

  if (HAL_RCC_ClockConfig(&RCC_ClkInitStruct, FLASH_LATENCY_4) != HAL_OK)
  {
    Error_Handler();
  }

  /** Enables the Clock Security System
  */
  HAL_RCC_EnableCSS();
}

/* USER CODE BEGIN 4 */
void Pulse_Monitor(uint8_t pulse_idx) {
  uint64_t current_tick = get_on_chip_time().ticks;
  if (last_ticks[pulse_idx] != 0)
    filtered_ticks_interval[pulse_idx] = (filtered_ticks_interval[pulse_idx] + (current_tick - last_ticks[pulse_idx])) / 2;
  last_ticks[pulse_idx] = current_tick;
}
/* USER CODE END 4 */

 /* MPU Configuration */

void MPU_Config(void)
{
  MPU_Region_InitTypeDef MPU_InitStruct = {0};

  /* Disables the MPU */
  HAL_MPU_Disable();

  /** Initializes and configures the Region and the memory to be protected
  */
  MPU_InitStruct.Enable = MPU_REGION_ENABLE;
  MPU_InitStruct.Number = MPU_REGION_NUMBER0;
  MPU_InitStruct.BaseAddress = 0x0;
  MPU_InitStruct.Size = MPU_REGION_SIZE_4GB;
  MPU_InitStruct.SubRegionDisable = 0x87;
  MPU_InitStruct.TypeExtField = MPU_TEX_LEVEL0;
  MPU_InitStruct.AccessPermission = MPU_REGION_NO_ACCESS;
  MPU_InitStruct.DisableExec = MPU_INSTRUCTION_ACCESS_DISABLE;
  MPU_InitStruct.IsShareable = MPU_ACCESS_SHAREABLE;
  MPU_InitStruct.IsCacheable = MPU_ACCESS_NOT_CACHEABLE;
  MPU_InitStruct.IsBufferable = MPU_ACCESS_NOT_BUFFERABLE;

  HAL_MPU_ConfigRegion(&MPU_InitStruct);

  /** Initializes and configures the Region and the memory to be protected
  */
  MPU_InitStruct.Number = MPU_REGION_NUMBER1;
  MPU_InitStruct.BaseAddress = 0x30020000;
  MPU_InitStruct.Size = MPU_REGION_SIZE_128KB;
  MPU_InitStruct.SubRegionDisable = 0x0;
  MPU_InitStruct.TypeExtField = MPU_TEX_LEVEL1;
  MPU_InitStruct.AccessPermission = MPU_REGION_FULL_ACCESS;
  MPU_InitStruct.IsShareable = MPU_ACCESS_NOT_SHAREABLE;

  HAL_MPU_ConfigRegion(&MPU_InitStruct);

  /** Initializes and configures the Region and the memory to be protected
  */
  MPU_InitStruct.Number = MPU_REGION_NUMBER2;
  MPU_InitStruct.BaseAddress = 0x30040000;
  MPU_InitStruct.Size = MPU_REGION_SIZE_512B;
  MPU_InitStruct.TypeExtField = MPU_TEX_LEVEL0;
  MPU_InitStruct.IsShareable = MPU_ACCESS_SHAREABLE;
  MPU_InitStruct.IsBufferable = MPU_ACCESS_BUFFERABLE;

  HAL_MPU_ConfigRegion(&MPU_InitStruct);

  /** Initializes and configures the Region and the memory to be protected
  */
  MPU_InitStruct.Number = MPU_REGION_NUMBER3;
  MPU_InitStruct.BaseAddress = 0x30000000;
  MPU_InitStruct.Size = MPU_REGION_SIZE_64KB;
  MPU_InitStruct.IsCacheable = MPU_ACCESS_CACHEABLE;
  MPU_InitStruct.IsBufferable = MPU_ACCESS_NOT_BUFFERABLE;

  HAL_MPU_ConfigRegion(&MPU_InitStruct);

  /** Initializes and configures the Region and the memory to be protected
  */
  MPU_InitStruct.Number = MPU_REGION_NUMBER4;
  MPU_InitStruct.BaseAddress = 0x24000000;
  MPU_InitStruct.IsShareable = MPU_ACCESS_NOT_SHAREABLE;
  MPU_InitStruct.IsBufferable = MPU_ACCESS_BUFFERABLE;

  HAL_MPU_ConfigRegion(&MPU_InitStruct);
  /* Enables the MPU */
  HAL_MPU_Enable(MPU_PRIVILEGED_DEFAULT);

}

void Error_Handler(void)
{
  /* USER CODE BEGIN Error_Handler_Debug */
  /* User can add his own implementation to report the HAL error return state */
  __disable_irq();
  dbg_msg_len = sprintf(dbg_msg_buff, "[MAIN] error\r\n");
  dbg_msg_transmit(dbg_msg_buff, dbg_msg_len);
  error_handler(ERROR_FLAG_HAL_ERROR);
  /* USER CODE END Error_Handler_Debug */
}
